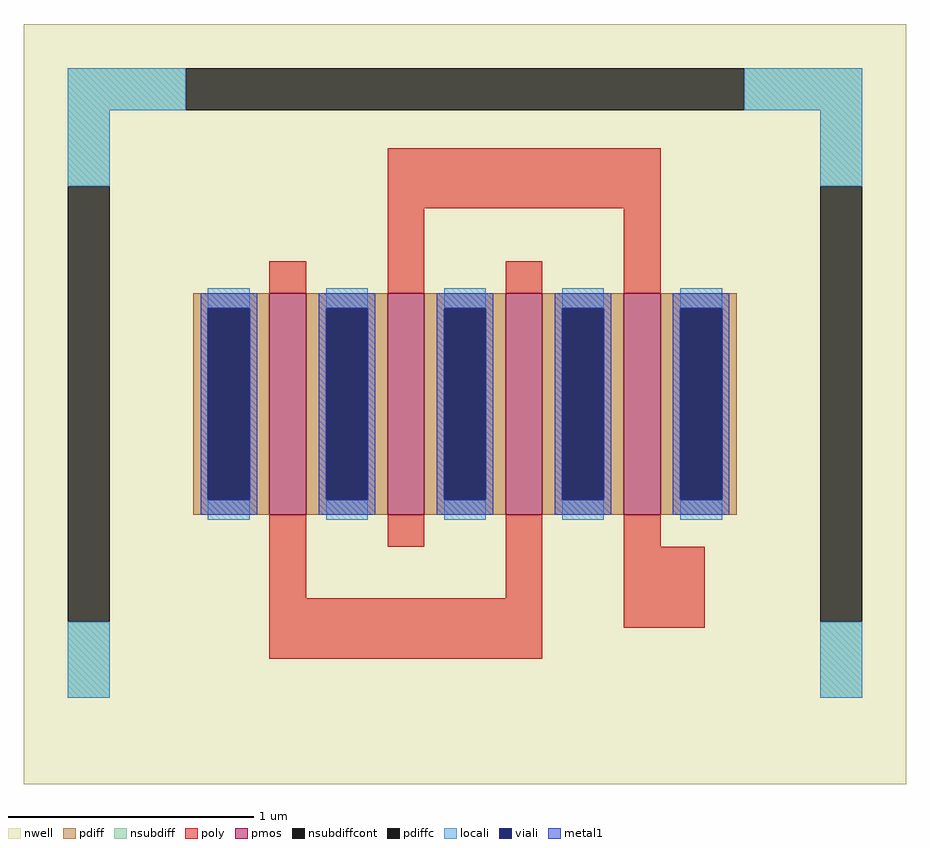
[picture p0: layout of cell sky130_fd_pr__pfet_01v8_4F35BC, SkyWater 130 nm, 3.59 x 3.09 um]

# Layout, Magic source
magic
tech sky130A
magscale 1 2
<< nwell >>
rect -359 -309 359 309
<< pmos >>
rect -159 -90 -129 90
rect -63 -90 -33 90
rect 33 -90 63 90
rect 129 -90 159 90
<< pdiff >>
rect -221 78 -159 90
rect -221 -78 -209 78
rect -175 -78 -159 78
rect -221 -90 -159 -78
rect -129 78 -63 90
rect -129 -78 -113 78
rect -79 -78 -63 78
rect -129 -90 -63 -78
rect -33 78 33 90
rect -33 -78 -17 78
rect 17 -78 33 78
rect -33 -90 33 -78
rect 63 78 129 90
rect 63 -78 79 78
rect 113 -78 129 78
rect 63 -90 129 -78
rect 159 78 221 90
rect 159 -78 175 78
rect 209 -78 221 78
rect 159 -90 221 -78
<< pdiffc >>
rect -209 -78 -175 78
rect -113 -78 -79 78
rect -17 -78 17 78
rect 79 -78 113 78
rect 175 -78 209 78
<< nsubdiff >>
rect -323 239 -227 273
rect 227 239 323 273
rect -323 177 -289 239
rect 289 177 323 239
rect -323 -239 -289 -177
rect 289 -239 323 -177
<< nsubdiffcont >>
rect -227 239 227 273
rect -323 -177 -289 177
rect 289 -177 323 177
<< poly >>
rect -63 159 159 208
rect -159 90 -129 116
rect -63 90 -33 159
rect 33 90 63 116
rect 129 90 159 159
rect -159 -158 -129 -90
rect -63 -116 -33 -90
rect 33 -158 63 -90
rect -159 -207 63 -158
rect 129 -116 159 -90
rect 129 -182 195 -116
<< locali >>
rect -323 239 -227 273
rect 227 239 323 273
rect -323 177 -289 239
rect 289 177 323 239
rect -209 78 -175 94
rect -209 -94 -175 -78
rect -113 78 -79 94
rect -113 -94 -79 -78
rect -17 78 17 94
rect -17 -94 17 -78
rect 79 78 113 94
rect 79 -94 113 -78
rect 175 78 209 94
rect 175 -94 209 -78
rect -323 -239 -289 -177
rect 289 -239 323 -177
<< viali >>
rect -209 -78 -175 78
rect -113 -78 -79 78
rect -17 -78 17 78
rect 79 -78 113 78
rect 175 -78 209 78
<< metal1 >>
rect -215 78 -169 90
rect -215 -78 -209 78
rect -175 -78 -169 78
rect -215 -90 -169 -78
rect -119 78 -73 90
rect -119 -78 -113 78
rect -79 -78 -73 78
rect -119 -90 -73 -78
rect -23 78 23 90
rect -23 -78 -17 78
rect 17 -78 23 78
rect -23 -90 23 -78
rect 73 78 119 90
rect 73 -78 79 78
rect 113 -78 119 78
rect 73 -90 119 -78
rect 169 78 215 90
rect 169 -78 175 78
rect 209 -78 215 78
rect 169 -90 215 -78
<< properties >>
string gencell sky130_fd_pr__pfet_01v8
string FIXED_BBOX -306 -256 306 256
string parameters w 0.9 l 0.15 m 1 nf 4 diffcov 100 polycov 100 guard 1 glc 1 grc 1 gtc 1 gbc 0 tbcov 100 rlcov 100 topc 1 botc 1 poverlap 0 doverlap 1 lmin 0.15 wmin 0.42 compatible {sky130_fd_pr__pfet_01v8  sky130_fd_pr__pfet_01v8_lvt sky130_fd_pr__pfet_01v8_hvt  sky130_fd_pr__pfet_g5v0d10v5} full_metal 1 viasrc 100 viadrn 100 viagate 100 viagb 0 viagr 0 viagl 0 viagt 0
string library sky130
<< end >>
